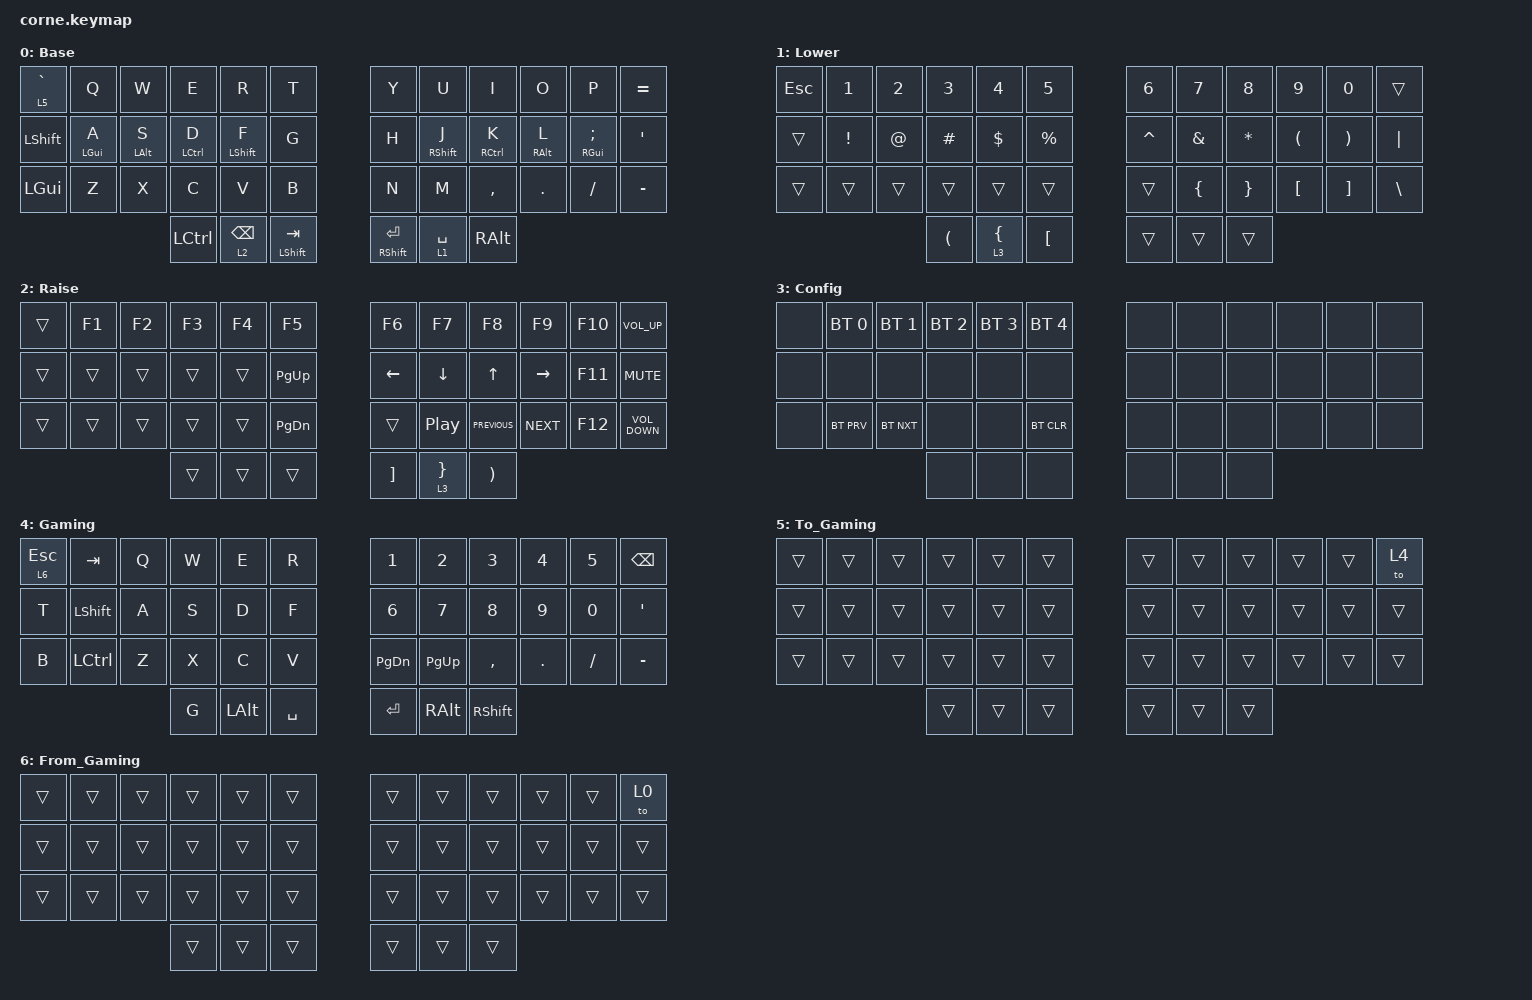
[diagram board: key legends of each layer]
#include <behaviors.dtsi>
#include <dt-bindings/zmk/bt.h>
#include <dt-bindings/zmk/keys.h>

#define BASE 0
#define LOWER 1
#define RAISE 2

/ {
    combos {
        compatible = "zmk,combos";

        Esc {
            bindings = <&kp ESC>;
            key-positions = <0 1>;
            layers = <0>;
        };

        Esc_2 {
            bindings = <&kp ESC>;
            key-positions = <1 2>;
            layers = <0>;
        };
    };

    behaviors {
        home_row_l: home_row_l {
            compatible = "zmk,behavior-hold-tap";
            label = "HOME_ROW_L";
            bindings = <&kp>, <&kp>;

            #binding-cells = <2>;
            flavor = "balanced";
            tapping-term-ms = <200>;
            require-prior-idle-ms = <150>;
            hold-trigger-on-release;
            hold-trigger-key-positions = <6 18 30 31 32 33 34 35 23 22 21 20 19 7 8 9 10 11 41 40 39 38 37 36>;
            quick-tap-ms = <150>;
        };

        layer_tap_qt: layer_tap_qt {
            compatible = "zmk,behavior-hold-tap";
            label = "LAYER_TAP_QT";
            bindings = <&mo>, <&kp>;

            #binding-cells = <2>;
            tapping-term-ms = <150>;
            quick-tap-ms = <200>;
            flavor = "balanced";
        };

        mod_tap_qt: mod_tap_qt {
            compatible = "zmk,behavior-hold-tap";
            label = "MOD_TAP_QT";
            bindings = <&kp>, <&kp>;

            #binding-cells = <2>;
            tapping-term-ms = <150>;
            quick-tap-ms = <200>;
            flavor = "hold-preferred";
        };

        home_row_r: home_row_r {
            compatible = "zmk,behavior-hold-tap";
            label = "HOME_ROW_R";
            bindings = <&kp>, <&kp>;

            #binding-cells = <2>;
            flavor = "balanced";
            tapping-term-ms = <200>;
            require-prior-idle-ms = <150>;
            hold-trigger-on-release;
            hold-trigger-key-positions = <0 1 2 3 4 5 12 13 14 15 16 17 24 25 26 27 28 29 36 37 38 39 40 41>;
            quick-tap-ms = <150>;
        };
    };

    keymap {
        compatible = "zmk,keymap";

        Base {
            bindings = <
&layer_tap_qt 5 GRAVE  &kp Q                   &kp W                   &kp E                       &kp R                      &kp T                         &kp Y                          &kp U                      &kp I                        &kp O                    &kp P                            &kp EQUAL
&kp LEFT_SHIFT         &home_row_l LEFT_GUI A  &home_row_l LEFT_ALT S  &home_row_l LEFT_CONTROL D  &home_row_l LEFT_SHIFT F   &kp G                         &kp H                          &home_row_r RIGHT_SHIFT J  &home_row_r RIGHT_CONTROL K  &home_row_r RIGHT_ALT L  &home_row_r RIGHT_GUI SEMICOLON  &kp SINGLE_QUOTE
&kp LEFT_GUI           &kp Z                   &kp X                   &kp C                       &kp V                      &kp B                         &kp N                          &kp M                      &kp COMMA                    &kp PERIOD               &kp SLASH                        &kp MINUS
                                                                       &kp LEFT_CONTROL            &layer_tap_qt 2 BACKSPACE  &mod_tap_qt LEFT_SHIFT TAB    &mod_tap_qt RIGHT_SHIFT ENTER  &layer_tap_qt 1 SPACE      &kp RIGHT_ALT
            >;
        };

        Lower {
            bindings = <
&kp ESCAPE  &kp NUMBER_1     &kp NUMBER_2  &kp NUMBER_3          &kp NUMBER_4      &kp NUMBER_5        &kp NUMBER_6  &kp NUMBER_7    &kp NUMBER_8     &kp NUMBER_9          &kp NUMBER_0           &trans
&trans      &kp EXCLAMATION  &kp AT_SIGN   &kp HASH              &kp DOLLAR        &kp PERCENT         &kp CARET     &kp AMPERSAND   &kp ASTERISK     &kp LEFT_PARENTHESIS  &kp RIGHT_PARENTHESIS  &kp PIPE
&trans      &trans           &trans        &trans                &trans            &trans              &trans        &kp LEFT_BRACE  &kp RIGHT_BRACE  &kp LEFT_BRACKET      &kp RIGHT_BRACKET      &kp BACKSLASH
                                           &kp LEFT_PARENTHESIS  &lt 3 LEFT_BRACE  &kp LEFT_BRACKET    &trans        &trans          &trans
            >;
        };

        Raise {
            bindings = <
&trans  &kp F1  &kp F2  &kp F3  &kp F4  &kp F5           &kp F6             &kp F7             &kp F8                 &kp F9      &kp F10  &kp C_VOLUME_UP
&trans  &trans  &trans  &trans  &trans  &kp PAGE_UP      &kp LEFT           &kp DOWN           &kp UP                 &kp RIGHT   &kp F11  &kp K_MUTE
&trans  &trans  &trans  &trans  &trans  &kp PAGE_DOWN    &trans             &kp C_PLAY_PAUSE   &kp C_PREVIOUS         &kp C_NEXT  &kp F12  &kp C_VOLUME_DOWN
                        &trans  &trans  &trans           &kp RIGHT_BRACKET  &lt 3 RIGHT_BRACE  &kp RIGHT_PARENTHESIS
            >;
        };

        Config {
            bindings = <
&none  &bt BT_SEL 0  &bt BT_SEL 1  &bt BT_SEL 2  &bt BT_SEL 3  &bt BT_SEL 4    &none  &none  &none  &none  &none  &none
&none  &none         &none         &none         &none         &none           &none  &none  &none  &none  &none  &none
&none  &bt BT_PRV    &bt BT_NXT    &none         &none         &bt BT_CLR      &none  &none  &none  &none  &none  &none
                                   &none         &none         &none           &none  &none  &none
            >;
        };

        Gaming {
            bindings = <
&layer_tap_qt 6 ESC  &kp TAB    &kp Q  &kp W  &kp E     &kp R        &kp N1         &kp N2       &kp N3     &kp N4   &kp N5    &kp BACKSPACE
&kp T                &kp LSHFT  &kp A  &kp S  &kp D     &kp F        &kp N6         &kp N7       &kp N8     &kp N9   &kp N0    &kp SQT
&kp B                &kp LCTRL  &kp Z  &kp X  &kp C     &kp V        &kp PAGE_DOWN  &kp PAGE_UP  &kp COMMA  &kp DOT  &kp FSLH  &kp MINUS
                                       &kp G  &kp LALT  &kp SPACE    &kp RET        &kp RALT     &kp RSHFT
            >;
        };

        To_Gaming {
            bindings = <
&trans  &trans  &trans  &trans  &trans  &trans    &trans  &trans  &trans  &trans  &trans  &to 4
&trans  &trans  &trans  &trans  &trans  &trans    &trans  &trans  &trans  &trans  &trans  &trans
&trans  &trans  &trans  &trans  &trans  &trans    &trans  &trans  &trans  &trans  &trans  &trans
                        &trans  &trans  &trans    &trans  &trans  &trans
            >;
        };

        From_Gaming {
            bindings = <
&trans  &trans  &trans  &trans  &trans  &trans    &trans  &trans  &trans  &trans  &trans  &to 0
&trans  &trans  &trans  &trans  &trans  &trans    &trans  &trans  &trans  &trans  &trans  &trans
&trans  &trans  &trans  &trans  &trans  &trans    &trans  &trans  &trans  &trans  &trans  &trans
                        &trans  &trans  &trans    &trans  &trans  &trans
            >;
        };
    };

    conditional_layers { compatible = "zmk,conditional-layers"; };
};
